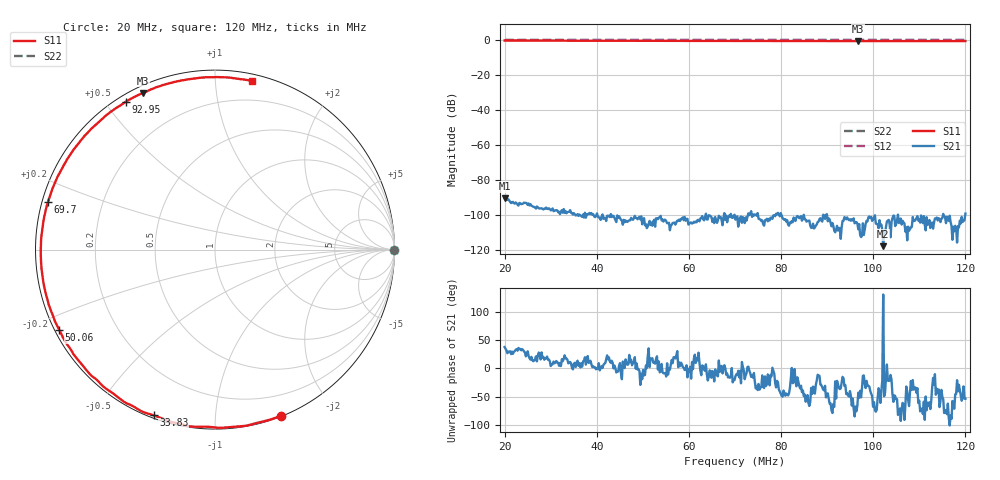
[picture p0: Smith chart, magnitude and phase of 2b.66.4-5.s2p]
! Anritsu VNA Master:  Model: MS2036C/10/77
! SN:  1601066
! /card0/usr/18may27.balun/252b.66.3.s2p
! Existing Calibration Information:
! TYPE:  Current Settings,  Active Cal Settings
! TIME:  05/27/2018 12:58:59 PM,  05/27/2018 12:49:51 PM
! INTERNAL TEMP:  52.3 C,  52.5 C
! # POINTS:  500,  500
! START FREQ:  20.000 MHz,  20.000 MHz
! STOP FREQ:  120.000 MHz,  120.000 MHz
! SOURCE POWER:  High,  High
! IFBW:  50 Hz,  50 Hz
! AVG FACTOR:  1 ,  1
! REF PLANE 1:  0 mm,  0 mm
! REF PLANE 2:  0 mm,  0 mm
! CAL TYPE:  Full S11,  Full S11
! CAL METHOD:  SOLT,  SOLT
! CAL LINE TYPE:  Coax,  Coax
! DUT PORT 1:  K-Conn(M),  K-Conn(M)
! DUT PORT 2:  K-Conn(M),  K-Conn(M)
! CAL STATUS:  OK: Accuracy High,  --
# GHZ S DB R 50.0
! FREQ.GHZ  S11DB  S11A  S21DB  S21A  S12DB  S12A  S22DB  S22A
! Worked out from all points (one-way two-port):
!   500 points, 20 MHz to 120 MHz, reference 50 ohm
!   highest |S21| = -90.33 dB at 20 MHz (marker M1); lowest = -117.7 dB at 102.2 MHz (marker M2)
!   lowest |S11| = -0.4 dB at 96.75 MHz (marker M3), VSWR 48.76, Z = 1.45 + j32.1 ohm
!   |S11| at or under -10 dB: nowhere
!   |S22| runs from 0.0 to 0.0 dB; largest |S21 - S12| = 1
!   S11 on the Smith chart (normalised r, x): 20 MHz: 0.01, -1.48; 33.83 MHz: 0.01, -0.70; 50.06 MHz: 0.01, -0.24; 69.7 MHz: 0.02, +0.14; 92.95 MHz: 0.03, +0.57; 120 MHz: 0.05, +1.24
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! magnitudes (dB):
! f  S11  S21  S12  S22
! 20 MHz  0.0  -90.3  0.0  0.0
! 23.81 MHz  0.0  -93.5  0.0  0.0
! 27.82 MHz  -0.1  -96.0  0.0  0.0
! 29.62 MHz  0.0  -96.0  0.0  0.0
! 33.83 MHz  -0.1  -98.0  0.0  0.0
! 35.23 MHz  -0.1  -99.5  0.0  0.0
! 36.83 MHz  -0.1  -100.9  0.0  0.0
! 37.64 MHz  -0.1  -101.4  0.0  0.0
! 39.24 MHz  -0.2  -99.4  0.0  0.0
! 40.64 MHz  -0.1  -101.3  0.0  0.0
! 41.84 MHz  -0.2  -101.5  0.0  0.0
! 42.85 MHz  -0.1  -101.0  0.0  0.0
! 50.06 MHz  -0.2  -102.4  0.0  0.0
! 53.47 MHz  -0.2  -101.4  0.0  0.0
! 69.7 MHz  -0.3  -100.2  0.0  0.0
! 70.1 MHz  -0.3  -102.5  0.0  0.0
! 86.73 MHz  -0.3  -107.0  0.0  0.0
! 92.95 MHz  -0.3  -113.4  0.0  0.0
! 96.75 MHz  -0.4  -108.0  0.0  0.0
! 102.2 MHz  -0.3  -117.7  0.0  0.0
! 103.4 MHz  -0.3  -102.6  0.0  0.0
! 120 MHz  -0.3  -99.0  0.0  0.0
